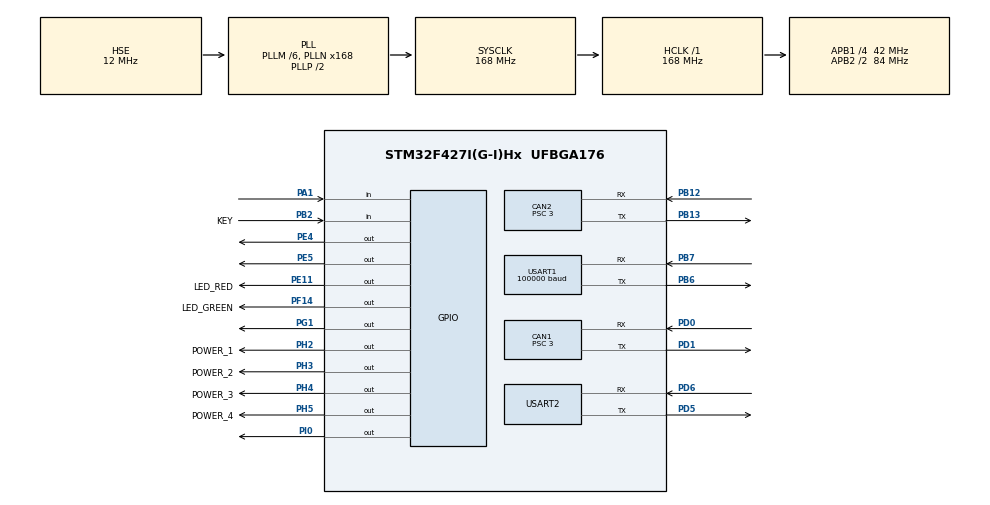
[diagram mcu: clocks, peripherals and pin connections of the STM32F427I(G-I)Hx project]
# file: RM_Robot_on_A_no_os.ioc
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CAN1.BS1=CAN_BS1_9TQ
CAN1.BS2=CAN_BS2_4TQ
CAN1.CalculateBaudRate=1000000
CAN1.CalculateTimeBit=1000
CAN1.CalculateTimeQuantum=71.42857142857143
CAN1.Prescaler=3
CAN2.BS1=CAN_BS1_9TQ
CAN2.BS2=CAN_BS2_4TQ
CAN2.CalculateBaudRate=1000000
CAN2.CalculateTimeBit=1000
CAN2.CalculateTimeQuantum=71.42857142857143
CAN2.Prescaler=3
Dma.Request0=USART1_RX
Dma.Request1=USART2_TX
Dma.USART1_RX.0.Direction=DMA_PERIPH_TO_MEMORY
Dma.USART1_RX.0.FIFOMode=DMA_FIFOMODE_DISABLE
Dma.USART1_RX.0.Instance=DMA2_Stream2
Dma.USART1_RX.0.MemDataAlignment=DMA_MDATAALIGN_BYTE
Dma.USART1_RX.0.MemInc=DMA_MINC_ENABLE
Dma.USART1_RX.0.Mode=DMA_NORMAL
Dma.USART1_RX.0.PeriphDataAlignment=DMA_PDATAALIGN_BYTE
Dma.USART1_RX.0.PeriphInc=DMA_PINC_DISABLE
Dma.USART1_RX.0.Priority=DMA_PRIORITY_LOW
Dma.USART2_TX.1.Direction=DMA_MEMORY_TO_PERIPH
Dma.USART2_TX.1.FIFOMode=DMA_FIFOMODE_DISABLE
Dma.USART2_TX.1.Instance=DMA1_Stream6
Dma.USART2_TX.1.MemDataAlignment=DMA_MDATAALIGN_BYTE
Dma.USART2_TX.1.MemInc=DMA_MINC_ENABLE
Dma.USART2_TX.1.Mode=DMA_NORMAL
Dma.USART2_TX.1.PeriphDataAlignment=DMA_PDATAALIGN_BYTE
Dma.USART2_TX.1.PeriphInc=DMA_PINC_DISABLE
Dma.USART2_TX.1.Priority=DMA_PRIORITY_HIGH
Mcu.Family=STM32F4
Mcu.Name=STM32F427I(G-I)Hx
Mcu.Package=UFBGA176
NVIC.CAN1_RX0_IRQn=true\:0\:0\:false\:false\:true\:true\:true\:true
NVIC.CAN1_TX_IRQn=true\:0\:0\:false\:false\:true\:true\:true\:true
NVIC.CAN2_RX0_IRQn=true\:0\:0\:false\:false\:true\:true\:true\:true
NVIC.CAN2_TX_IRQn=true\:0\:0\:false\:false\:true\:true\:true\:true
NVIC.DMA1_Stream6_IRQn=true\:0\:0\:false\:false\:true\:false\:true\:true
NVIC.DMA2_Stream2_IRQn=true\:0\:0\:false\:false\:true\:false\:true\:true
NVIC.PriorityGroup=NVIC_PRIORITYGROUP_4
NVIC.USART1_IRQn=true\:0\:0\:false\:false\:false\:true\:true\:true
NVIC.USART2_IRQn=true\:0\:0\:false\:false\:true\:true\:true\:true
PA1.GPIO_PuPd=GPIO_PULLDOWN
PA1.Signal=GPIO_Input
PA13.Mode=Serial_Wire
PA13.Signal=SYS_JTMS-SWDIO
PA14.Mode=Serial_Wire
PA14.Signal=SYS_JTCK-SWCLK
PB12.Mode=CAN_Activate
PB12.Signal=CAN2_RX
PB13.Mode=CAN_Activate
PB13.Signal=CAN2_TX
PB2/BOOT1.GPIO_Label=KEY
PB2/BOOT1.Signal=GPIO_Input
PB6.Mode=Asynchronous
PB6.Signal=USART1_TX
PB7.Mode=Asynchronous
PB7.Signal=USART1_RX
PD0.Mode=CAN_Activate
PD0.Signal=CAN1_RX
PD1.Mode=CAN_Activate
PD1.Signal=CAN1_TX
PD5.Mode=Asynchronous
PD5.Signal=USART2_TX
PD6.Mode=Asynchronous
PD6.Signal=USART2_RX
PE11.GPIO_Label=LED_RED
PE11.Signal=GPIO_Output
PE4.GPIO_PuPd=GPIO_PULLDOWN
PE4.Signal=GPIO_Output
PE5.GPIO_PuPd=GPIO_PULLDOWN
PE5.Signal=GPIO_Output
PF14.GPIO_Label=LED_GREEN
PF14.Signal=GPIO_Output
PG1.PinState=GPIO_PIN_RESET
PG1.Signal=GPIO_Output
PH0/OSC_IN.Mode=HSE-External-Oscillator
PH0/OSC_IN.Signal=RCC_OSC_IN
PH1/OSC_OUT.Mode=HSE-External-Oscillator
PH1/OSC_OUT.Signal=RCC_OSC_OUT
PH2.GPIO_Label=POWER_1
PH2.Signal=GPIO_Output
PH3.GPIO_Label=POWER_2
PH3.Signal=GPIO_Output
PH4.GPIO_Label=POWER_3
PH4.Signal=GPIO_Output
PH5.GPIO_Label=POWER_4
PH5.Signal=GPIO_Output
PI0.PinState=GPIO_PIN_SET
PI0.Signal=GPIO_Output
ProjectManager.HeapSize=0x200
ProjectManager.StackSize=0x400
ProjectManager.TargetToolchain=MDK-ARM V5
RCC.48MHZClocksFreq_Value=84000000
RCC.AHBFreq_Value=168000000
RCC.APB1CLKDivider=RCC_HCLK_DIV4
RCC.APB1Freq_Value=42000000
RCC.APB1TimFreq_Value=84000000
RCC.APB2CLKDivider=RCC_HCLK_DIV2
RCC.APB2Freq_Value=84000000
RCC.APB2TimFreq_Value=168000000
RCC.CortexFreq_Value=168000000
RCC.HCLKFreq_Value=168000000
RCC.HSE_VALUE=12000000
RCC.HSI_VALUE=16000000
RCC.LSE_VALUE=32768
RCC.PLLM=6
RCC.PLLN=168
RCC.PLLSourceVirtual=RCC_PLLSOURCE_HSE
RCC.SYSCLKFreq_VALUE=168000000
RCC.SYSCLKSource=RCC_SYSCLKSOURCE_PLLCLK
RCC.VCOOutputFreq_Value=336000000
USART1.BaudRate=100000
USART1.Parity=PARITY_EVEN
USART1.VirtualMode=VM_ASYNC
USART2.VirtualMode=VM_ASYNC
board=custom

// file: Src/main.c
/* USER CODE BEGIN Header */
/**
 ******************************************************************************
 * @file           : main.c
 * @brief          : Main program body
 ******************************************************************************
 * @attention
 *
 * <h2><center>&copy; Copyright (c) 2022 STMicroelectronics.
 * All rights reserved.</center></h2>
 *
 * This software component is licensed by ST under BSD 3-Clause license,
 * the "License"; You may not use this file except in compliance with the
 * License. You may obtain a copy of the License at:
 *                        opensource.org/licenses/BSD-3-Clause
 *
 ******************************************************************************
 */
/* USER CODE END Header */
#include "main.h"
#include "can.h"
#include "dma.h"
#include "usart.h"
#include "gpio.h"

/* USER CODE BEGIN Includes */
#include "bsp_can.h"
#include "pid.h"
#include "remote_control.h"
#include "string.h"
#include "bsp_system.h"

/* USER CODE END Includes */

/* USER CODE BEGIN PM */
extern uint8_t UART_Buffer[100];
extern Motor_measure_t Motor_measure[14];
extern Motor_PID_typedef Motor_pid_SPEED[14];
int16_t delta;					 //设定速度与实际速度的差值
int16_t max_speed_change = 50; //电机单次最大变化速度，加减速用
								 // 500经测试差不多是最大加速区间，即从零打到最大速度不异常的最大值
float set_speed = 500;	 //电机速度全局变量
float set_speed_temp;			 //加减速时的临时设定速度
#define CAN_CONTROL // CAN总线控制
/* USER CODE END PM */

void SystemClock_Config(void);

int main(void)
{

  /* MCU Configuration--------------------------------------------------------*/

  /* Reset of all peripherals, Initializes the Flash interface and the Systick. */
  HAL_Init();

  /* Configure the system clock */
  SystemClock_Config();

  /* Initialize all configured peripherals */
  MX_GPIO_Init();
  MX_DMA_Init();
  MX_CAN1_Init();
  MX_CAN2_Init();
  MX_USART1_UART_Init();
  MX_USART2_UART_Init();
  /* USER CODE BEGIN 2 */
	HAL_UART_Receive_IT_IDLE(&huart1, UART_Buffer, 100); //启动串口3接收
	can_filter_init();
	PID_Total_Init();
	scheduler_init();
	HAL_Delay(1000);
	printf("{plotter}%d\n", Motor_measure[0].speed);
  /* USER CODE END 2 */

  /* Infinite loop */
  /* USER CODE BEGIN WHILE */

	while (1)
	{
		scheduler_run();
		//key_proc();
    /* USER CODE END WHILE */

    /* USER CODE BEGIN 3 */
		// demo for M2006
		// spd = remote_control.ch1 * 6000/ 660;
#if defined CAN_CONTROL	//CAN总线控制
		// PID采样，获取电机数据
		// PS:在CAN接收中断中更新数据
		// 变化量缓冲处理
		static uint8_t i = 0;

		//10ms一次缓冲
		if( ++i >= 2)
		{
			//电机变速缓冲器
			LimitAcceleration(set_speed, Motor_measure[0].speed, 350, &set_speed_temp);
			i=0;
		}
		// 计算电机的PID输出值
		//单环（增量式）控制
		Motor_measure[0].Output = Motor_PID_calc(&Motor_pid_SPEED[0], Motor_measure[0].speed, set_speed_temp);

		// 将PID输出作用于电机
		Set_motor_cmd(&hcan1, First_STDID, Motor_measure[0].Output, 0, 0, 0);
		// 通过串口调试助手观察实际速度与设定速度.
//		printf("{PID out:%f}\n", (float)Motor_measure[0].Output);
//		printf("{real speed:%d}\n", Motor_measure[0].speed);
//		printf("{set speed:%f}\n", set_speed_temp);

		printf("Out:%f,%d,%f\n", (float)Motor_measure[0].Output,Motor_measure[0].speed,set_speed_temp);

#elif defined PWM_CONTROL // PWM控制
		if (key_cnt < 0)
			key_cnt = 0;
		if (key_cnt > 20)
			key_cnt = 20;
		set_speed[0] = set_speed[1] = set_speed[2] = set_speed[3] = key_cnt * 100; // 0-2000,单向转
		__HAL_TIM_SetCompare(&htim5, TIM_CHANNEL_1, set_speed[0]);
		__HAL_TIM_SetCompare(&htim5, TIM_CHANNEL_2, set_speed[1]);
		__HAL_TIM_SetCompare(&htim5, TIM_CHANNEL_3, set_speed[2]);
		__HAL_TIM_SetCompare(&htim5, TIM_CHANNEL_4, set_speed[3]);
#endif
		HAL_Delay(5); // 处理周期
	}
  /* USER CODE END 3 */
}

void SystemClock_Config(void)
{
  RCC_OscInitTypeDef RCC_OscInitStruct = {0};
  RCC_ClkInitTypeDef RCC_ClkInitStruct = {0};

  /** Configure the main internal regulator output voltage
  */
  __HAL_RCC_PWR_CLK_ENABLE();
  __HAL_PWR_VOLTAGESCALING_CONFIG(PWR_REGULATOR_VOLTAGE_SCALE1);

  /** Initializes the RCC Oscillators according to the specified parameters
  * in the RCC_OscInitTypeDef structure.
  */
  RCC_OscInitStruct.OscillatorType = RCC_OSCILLATORTYPE_HSE;
  RCC_OscInitStruct.HSEState = RCC_HSE_ON;
  RCC_OscInitStruct.PLL.PLLState = RCC_PLL_ON;
  RCC_OscInitStruct.PLL.PLLSource = RCC_PLLSOURCE_HSE;
  RCC_OscInitStruct.PLL.PLLM = 6;
  RCC_OscInitStruct.PLL.PLLN = 168;
  RCC_OscInitStruct.PLL.PLLP = RCC_PLLP_DIV2;
  RCC_OscInitStruct.PLL.PLLQ = 4;
  if (HAL_RCC_OscConfig(&RCC_OscInitStruct) != HAL_OK)
  {
    Error_Handler();
  }

  /** Initializes the CPU, AHB and APB buses clocks
  */
  RCC_ClkInitStruct.ClockType = RCC_CLOCKTYPE_HCLK|RCC_CLOCKTYPE_SYSCLK
                              |RCC_CLOCKTYPE_PCLK1|RCC_CLOCKTYPE_PCLK2;
  RCC_ClkInitStruct.SYSCLKSource = RCC_SYSCLKSOURCE_PLLCLK;
  RCC_ClkInitStruct.AHBCLKDivider = RCC_SYSCLK_DIV1;
  RCC_ClkInitStruct.APB1CLKDivider = RCC_HCLK_DIV4;
  RCC_ClkInitStruct.APB2CLKDivider = RCC_HCLK_DIV2;

  if (HAL_RCC_ClockConfig(&RCC_ClkInitStruct, FLASH_LATENCY_5) != HAL_OK)
  {
    Error_Handler();
  }
}

void Error_Handler(void)
{
	__disable_irq();
	while (1)
	{
	}
}
